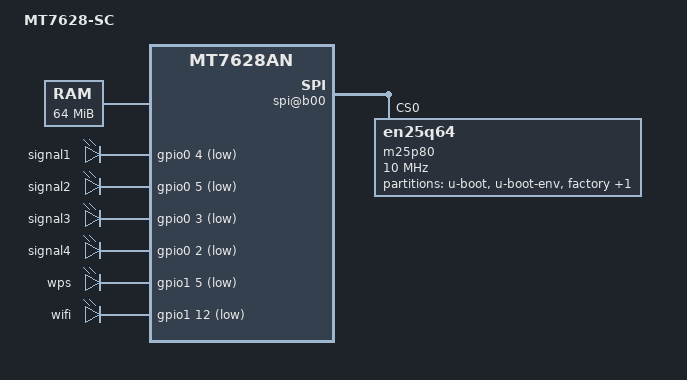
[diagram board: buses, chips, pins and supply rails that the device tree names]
/dts-v1/;

/include/ "mt7628an.dtsi"

/ {
	compatible = "mediatek,mt7628an-eval-board", "mediatek,mt7628an-soc";
	model = "MT7628-SC";

	ethernet@10100000 {
		pinctrl-names = "default";
		pinctrl-0 = <&ephy_pins>;
		mtd-mac-address = <&factory 0x28>;
		ralink,port-map = "llllw";
	};

	memory@0 {
		device_type = "memory";
		reg = <0x0 0x4000000>;
	};

	pinctrl {
		state_default: pinctrl0 {
			gpio {
				ralink,group = "i2c", "i2s";
				ralink,function = "gpio";
			};
		};
	};

	palmbus@10000000 {
		spi@b00 {
			status = "okay";

			m25p80@0 {
				#address-cells = <1>;
				#size-cells = <1>;
				compatible = "en25q64";
				reg = <0 0>;
				linux,modalias = "m25p80", "en25q64";
				spi-max-frequency = <10000000>;
				m25p,chunked-io = <32>;

				partition@0 {
					label = "u-boot";
					reg = <0x0 0x30000>;
					
				};

				partition@30000 {
					label = "u-boot-env";
					reg = <0x30000 0x10000>;
					read-only;
				};

				factory: partition@40000 {
					label = "factory";
					reg = <0x40000 0x10000>;
				};

				partition@50000 {
					label = "firmware";
					reg = <0x50000 0x7b0000>;
				};
			};
		};
	};



	pinctrl {
		state_default: pinctrl0 {
			default {
				ralink,group = "wled_an";
				ralink,function = "gpio";
			};
		};
	};

	gpio-leds {
		compatible = "gpio-leds";
		wifisignal1 {
			label = "signal1";
			gpios = <&gpio0 4 1>;
		};
		wifisignal2 {
			label = "signal2";
			gpios = <&gpio0 5 1>;
		};
		wifisignal3 {
			label = "signal3";
			gpios = <&gpio0 3 1>;
		};
		wifisignal4 {
			label = "signal4";
			gpios = <&gpio0 2 1>;
		};
		wps {
			label = "wps";
			gpios = <&gpio1 5 1>;
		};
		wifi {
			label = "wifi";
			gpios = <&gpio1 12 1>;
		};
	};
};
